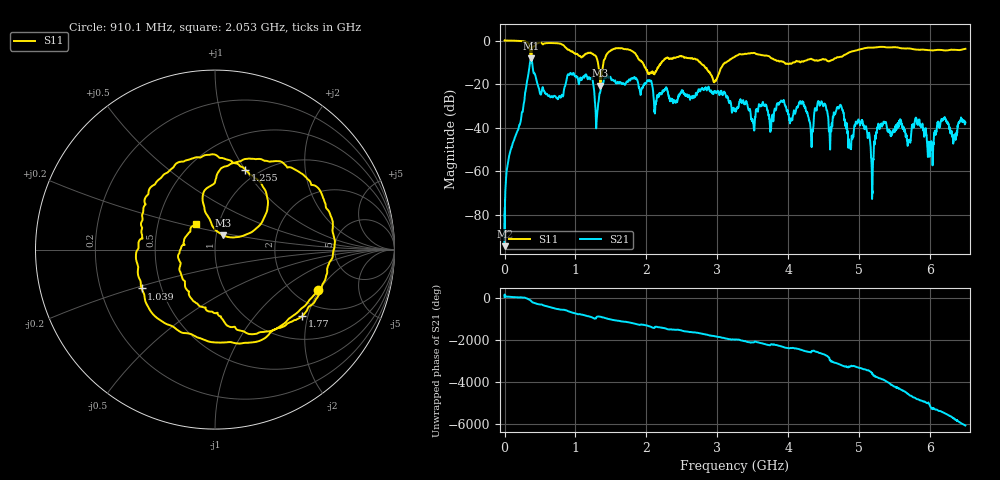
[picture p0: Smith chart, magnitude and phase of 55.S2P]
!Keysight Technologies,E5063A,MY54503115,A.05.08
!Date: Mon Dec 11 14:23:37 2023
!Data & Calibration Information:
!Freq	S11:NONE(--)	S21:NONE(--)	S12:NONE(--)	S22:NONE(--)
# Hz S dB R 50
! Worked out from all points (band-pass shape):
!   10001 points, 100 kHz to 6.5 GHz, reference 50 ohm
!   highest |S21| = -8.07 dB at 375.1 MHz (marker M1); lowest = -94.5 dB at 1.4 MHz (marker M2)
!   |S21| within 3 dB of the highest: 354.8 MHz to 392.4 MHz (37.55 MHz wide, 10.1 % of centre)
!   lowest |S11| = -20.7 dB at 1.352 GHz (marker M3), VSWR 1.20, Z = 53.9 + j8.75 ohm
!   |S11| at or under -10 dB: 1.945 GHz to 2.218 GHz (273 MHz wide, 13.1 % of centre); 2.76 GHz to 3.128 GHz (367.5 MHz wide, 12.5 % of centre); 3.941 GHz to 4.07 GHz (128.7 MHz wide, 3.21 % of centre) (the widest 3 of 9)
!   S12 and S22 are empty: the file has one direction only
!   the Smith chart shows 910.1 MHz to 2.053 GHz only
!   S11 on the Smith chart (normalised r, x): 910.1 MHz: 2.64, -1.93; 1.039 GHz: 0.39, -0.21; 1.255 GHz: 0.87, +1.00; 1.77 GHz: 1.56, -1.85; 2.053 GHz: 0.78, +0.23
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100000  0.05 -0.6  -79.74 57.1  -200.00 0.0  -200.00 0.0
1399980  0.00 -0.8  -94.48 -179.7  -200.00 0.0  -200.00 0.0
2.308464e8  -0.21 -76.8  -36.21 48.9  -200.00 0.0  -200.00 0.0
3.751442e8  -10.25 -110.8  -8.07 -132.6  -200.00 0.0  -200.00 0.0
5.785911e8  -1.26 168.4  -24.62 -3.7  -200.00 0.0  -200.00 0.0
7.306888e8  -1.22 95.4  -26.27 -141.6  -200.00 0.0  -200.00 0.0
9.10086e8  -4.22 -21.7  -15.84 92.3  -200.00 0.0  -200.00 0.0
1.038784e9  -6.70 -152.1  -18.58 -37.4  -200.00 0.0  -200.00 0.0
1.083633e9  -7.77 171.3  -18.21 -52.9  -200.00 0.0  -200.00 0.0
1.255231e9  -6.45 69.1  -21.19 136.5  -200.00 0.0  -200.00 0.0
1.352079e9  -20.73 61.1  -23.24 -156.1  -200.00 0.0  -200.00 0.0
1.770023e9  -4.28 -37.3  -18.33 -75.9  -200.00 0.0  -200.00 0.0
2.052768e9  -15.07 127.2  -18.50 99.2  -200.00 0.0  -200.00 0.0
2.167167e9  -12.18 49.3  -25.70 69.5  -200.00 0.0  -200.00 0.0
3.25005e9  -7.39 -48.9  -32.17 -156.4  -200.00 0.0  -200.00 0.0
4.185386e9  -9.67 -122.8  -28.23 66.7  -200.00 0.0  -200.00 0.0
4.333583e9  -8.56 -131.9  -45.75 23.9  -200.00 0.0  -200.00 0.0
4.729427e9  -7.50 -135.8  -29.67 98.3  -200.00 0.0  -200.00 0.0
5.18962e9  -3.26 -176.2  -67.70 12.9  -200.00 0.0  -200.00 0.0
5.417117e9  -3.13 162.5  -41.17 -46.4  -200.00 0.0  -200.00 0.0
6.019657e9  -4.48 127.1  -46.78 163.9  -200.00 0.0  -200.00 0.0
6.5e9  -3.78 109.5  -37.67 73.9  -200.00 0.0  -200.00 0.0
